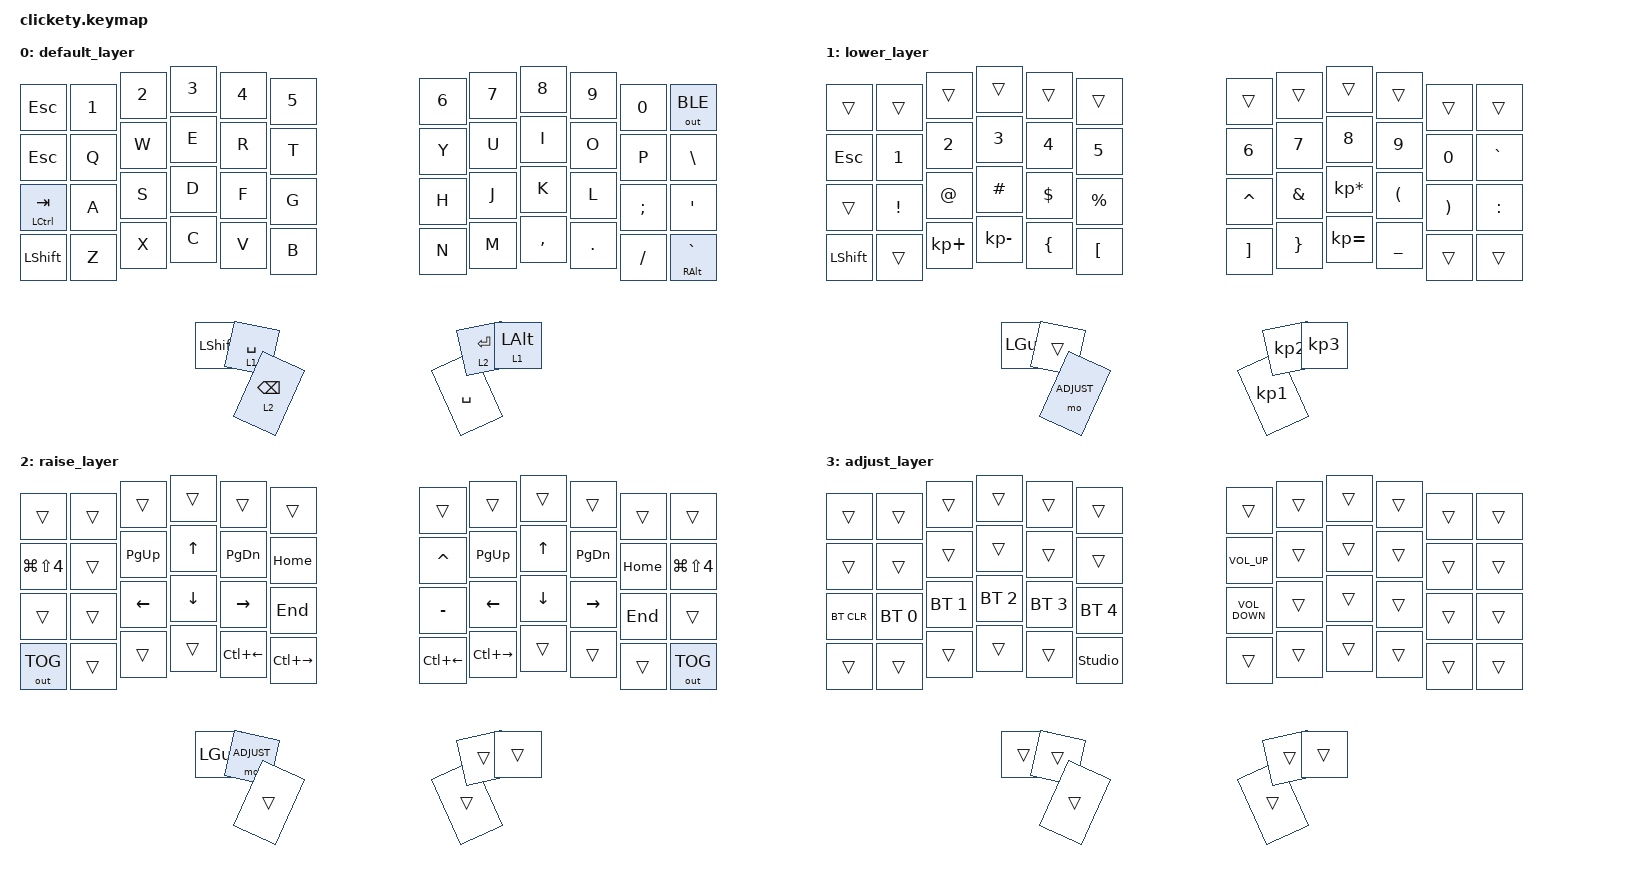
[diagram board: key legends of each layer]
#include <behaviors.dtsi>
#include <dt-bindings/zmk/keys.h>
#include <dt-bindings/zmk/bt.h>
#include <dt-bindings/zmk/outputs.h>

#define QWERTY 0
#define NUMB 1
#define NAVI 2
#define ADJUST 3
/ {

    behaviors {        
        hm: homerow_mods {
        compatible = "zmk,behavior-hold-tap";
        label = "HOMEROW_MODS";
        #binding-cells = <2>;
        tapping-term-ms = <150>;
        quick_tap_ms = <0>;
        flavor = "tap-preferred";
        bindings = <&kp>, <&kp>;
        };
    };

        keymap {
                compatible = "zmk,keymap";

                default_layer {
// .--------------------------------------------------------------.       .-----------------------------------------------------------.
// |   ESC        |    Q    |    W   |   E    |    R    |    T    |       |   Y   |    U    |    I    |    O    |     P    |    \     |
// |--------------+---------+--------+--------+---------+---------|       |-------+---------+---------+---------+----------+----------|
// |   CTRL/Tab   |    A    |    S   |   D    |    F    |    G    |       |   H   |    J    |    K    |    L    |     ;    |     '    |
// |--------------+---------+--------+--------+---------+---------|       |-------+---------+---------+---------+----------+----------|
// |   SHFT       |    Z    |    X   |   C    |    V    |    B    |       |   N   |    M    |    ,    |    .    |     /    | ` | ALT  |
// '---------------------------------+--------+---------+---------+       |-------+---------+---------+-------------------------------'
//                                   |  SHFT  |   SPC   |   BKSP  |       |  SPC  |   ENTER |  ALT    |
//                                   '--------+---------+---------'       '-------+---------+---------'
                        bindings = <
   &kp ESC        &kp N1      &kp N2     &kp N3    &kp N4          &kp N5  &kp N6 &kp N7          &kp N8       &kp N9    &kp N0     &out OUT_BLE
   &kp ESC        &kp Q       &kp W      &kp E     &kp R           &kp T   &kp Y  &kp U           &kp I        &kp O     &kp P      &kp BACKSLASH
   &mt LCTRL TAB  &kp A       &kp S      &kp D     &kp F           &kp G   &kp H  &kp J           &kp K        &kp L     &kp SEMI   &kp SQT
   &kp LSHFT      &kp Z       &kp X      &kp C     &kp V           &kp B   &kp N  &kp M           &kp COMMA    &kp DOT   &kp FSLH   &mt RALT GRAVE
                  &kp LSHFT   &lt 1 SPACE &lt 2 BSPC               &kp SPACE      &lt 2 RET       &lt 1 LALT
                        >;
                };
                
                lower_layer {
// .--------------------------------------------------------------.       .-----------------------------------------------------------.
// |   ESC        |    1    |    2   |   3    |    4    |    5    |       |   6   |    7    |    8    |    9    |     0    |    `     |
// |--------------+---------+--------+--------+---------+---------|       |-------+---------+---------+---------+----------+----------|
// |              |    !    |    @   |   #    |    $    |    %    |       |   ^   |    &    |    *    |    (    |     )    |     :    |
// |--------------+---------+--------+--------+---------+---------|       |-------+---------+---------+---------+----------+----------|
// |   SHFT       |         |    +   |   -    |    {    |    [    |       |   ]   |    }    |    =    |    _    |          |          |
// '---------------------------------+--------+---------+---------+       |-------+---------+---------+-------------------------------'
//                                   |  GUI   |         |   MO3   |       |   ,   |    .    |   ?     |
//                                   '--------+---------+---------'       '-------+---------+---------'
                        bindings = <
   &trans         &trans       &trans      &trans     &trans           &trans   &trans  &trans           &trans        &trans     &trans      &trans
   &kp ESC    &kp N1       &kp N2            &kp N3             &kp N4               &kp N5            &kp N6                   &kp N7                     &kp N8                 &kp N9                   &kp N0     &kp GRAVE
   &trans     &kp EXCL     &kp AT            &kp HASH           &kp DLLR             &kp PRCNT         &kp CARET                &kp AMPS                   &kp KP_MULTIPLY        &kp LPAR                 &kp RPAR   &kp COLON
   &kp LSHFT  &trans       &kp KP_PLUS       &kp KP_MINUS       &kp LEFT_BRACE       &kp LEFT_BRACKET  &kp RIGHT_BRACKET        &kp RIGHT_BRACE            &kp KP_EQUAL           &kp UNDERSCORE           &trans     &trans
                                             &kp LGUI           &trans               &mo ADJUST        &kp KP_N1                &kp KP_N2                  &kp KP_N3
                        >;
                };
                
                raise_layer {
// .----------------------------------------------------------------.       .-----------------------------------------------------------------.
// |   CMD+SHIFT+4  |       |   PU   |   UP   |    PD    |   HOME   |       |  HOME   |    PU    |    UP   |   PD    |          | CMD+SHIFT+4 |
// |----------------+-------+--------+--------+----------+----------|       |---------+----------+---------+---------+----------+-------------|
// |                |       |  LEFT  |  DOWN  |   RIGHT  |   END    |       |  END    |   LEFT   |   DOWN  |  RIGHT  |          |             |
// |----------------+-------+--------+--------+----------+----------|       |---------+----------+---------+---------+----------+-------------|
// |     OUT_TOG    |       |        |        |CTRL+LEFT |CTRL+RIGHT|       |CTRL+LEFT|CTRL+RIGHT|         |         |          |   OUT_TOG   |
// '---------------------------------+--------+----------+----------+       |---------+----------+---------+----------------------------------'
//                                   |  GUI   |   MO3    |          |       |         |          |         |
//                                   '--------+----------+----------'       '---------+----------+---------'

                        bindings = <
   &trans         &trans       &trans      &trans     &trans           &trans   &trans  &trans           &trans        &trans     &trans      &trans
   &kp LG(LS(N4))  &trans     &kp PAGE_UP        &kp UP_ARROW      &kp PAGE_DOWN       &kp HOME                &kp CARET            &kp PAGE_UP             &kp UP_ARROW       &kp PAGE_DOWN      &kp HOME     &kp LG(LS(N4))
   &trans          &trans     &kp LEFT_ARROW     &kp DOWN_ARROW    &kp RIGHT_ARROW     &kp END                 &kp MINUS            &kp LEFT_ARROW          &kp DOWN_ARROW     &kp RIGHT_ARROW    &kp END      &trans
   &out OUT_TOG    &trans     &trans             &trans            &kp LC(LEFT_ARROW)  &kp LC(RIGHT_ARROW)     &kp LC(LEFT_ARROW)   &kp LC(RIGHT_ARROW)     &trans             &trans             &trans       &out OUT_TOG
                              &kp LGUI           &mo ADJUST        &trans              &trans     &trans   &trans
                        >;
                };

                adjust_layer {
// .--------------------------------------------------------.       .--------------------------------------------------------------.
// |         |        |        |        |         |         |       |  VOL+  |        |         |         |          |             |
// |---------+--------+--------+--------+---------+---------|       |--------+--------+---------+---------+----------+-------------|
// |  BTCLR  |  BT1   |  BT2   |  BT3   |  BT4    |  BT5    |       |  VOL-  |        |         |         |          |             |
// |---------+--------+--------+--------+---------+---------|       |--------+--------+---------+---------+----------+-------------|
// |         |        |        |        |         |         |       |        |        |         |         |          |             |
// '---------------------------+--------+---------+---------+       |--------+--------+---------+----------------------------------'
//                             |        |         |         |       |        |        |         |
//                             '--------+---------+---------'       '--------+--------+---------'

                        bindings = <
   &trans         &trans       &trans      &trans     &trans           &trans   &trans  &trans           &trans        &trans     &trans      &trans
   &trans      &trans          &trans         &trans          &trans          &trans            &kp C_VOLUME_UP    &trans &trans &trans &trans &trans
   &bt BT_CLR  &bt BT_SEL 0    &bt BT_SEL 1   &bt BT_SEL 2    &bt BT_SEL 3    &bt BT_SEL 4      &kp C_VOLUME_DOWN  &trans &trans &trans &trans &trans
   &trans      &trans          &trans         &trans          &trans          &studio_unlock            &trans             &trans &trans &trans &trans &trans
                                   &trans &trans &trans   &trans &trans &trans
                        >;
                };
        };
};
